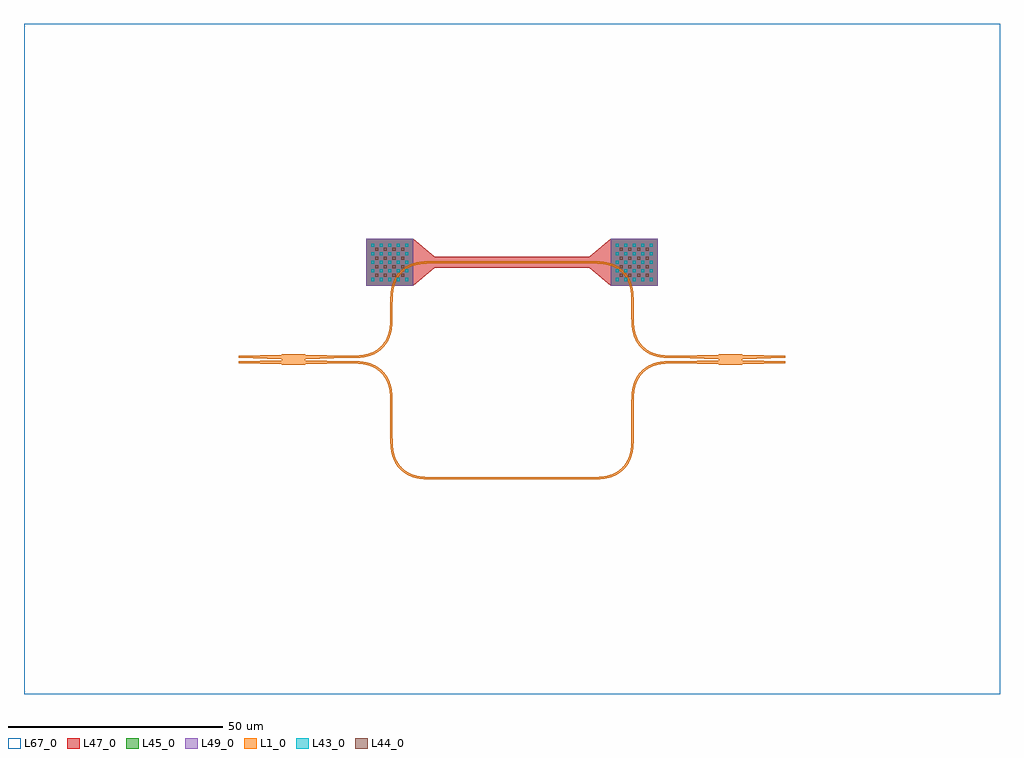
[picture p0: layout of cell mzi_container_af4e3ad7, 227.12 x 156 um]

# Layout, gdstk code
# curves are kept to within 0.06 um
from math import pi, radians
import gdstk
lib = gdstk.Library(unit=1e-6, precision=1e-09)
def R(c, l, rs):  # rectangles x0, y0, x1, y1
    for r in rs: c.add(gdstk.rectangle(r[:2], r[2:], *l))
def P(c, l, *ps):  # polygons
    for p in ps: c.add(gdstk.Polygon(p, *l))
L1_0 = (1, 0)
L43_0 = (43, 0)
L44_0 = (44, 0)
L45_0 = (45, 0)
L47_0 = (47, 0)
L49_0 = (49, 0)
L67_0 = (67, 0)

mmi2x2 = lib.new_cell('mmi2x2')
R(mmi2x2, L1_0, [(0,-1.25,5.5,1.25)])
P(mmi2x2, L1_0, [(-10,-0.375),(0,-0.125),(0,-1.125),(-10,-0.875)],
  [(-10,0.875),(0,1.125),(0,0.125),(-10,0.375)],
  [(15.5,0.375),(5.5,0.125),(5.5,1.125),(15.5,0.875)],
  [(15.5,-0.875),(5.5,-1.125),(5.5,-0.125),(15.5,-0.375)])

bend_euler = lib.new_cell('bend_euler')
P(bend_euler, L1_0, [(0,-0.25),(2.794,-0.158),(4.746,0.203),(5.688,0.543),(6.455,0.934),(7.284,1.499),(7.928,2.072),(8.501,2.716),(9.066,3.545),(9.457,4.312),(9.797,5.254),(10.158,7.206),(10.25,10),(9.75,10),(9.631,6.984),(9.451,5.916),(9.194,5.011),(8.566,3.683),(7.574,2.426),(6.317,1.434),(4.989,0.806),(4.084,0.549),(3.016,0.369),(0,0.25)])

straight_length7p0 = lib.new_cell('straight_length7p0')
R(straight_length7p0, L1_0, [(0,-0.25,7,0.25)])

straight_length0p1 = lib.new_cell('straight_length0p1')
R(straight_length0p1, L1_0, [(0,-0.25,0.1,0.25)])

straight_length2p0 = lib.new_cell('straight_length2p0')
R(straight_length2p0, L1_0, [(0,-0.25,2,0.25)])

straight_add_pinsfalse_l = lib.new_cell('straight_add_pinsFalse_length0p1')
R(straight_add_pinsfalse_l, L1_0, [(0,-0.25,0.1,0.25)])

straight_6e0386c1 = lib.new_cell('straight_6e0386c1')
R(straight_6e0386c1, L1_0, [(0,-0.25,17.95,0.25)])
R(straight_6e0386c1, L47_0, [(0,-1.25,17.95,1.25)])

component_sequence_8c6f5 = lib.new_cell('component_sequence_8c6f5426')
component_sequence_8c6f5.add(gdstk.Reference(straight_add_pinsfalse_l, (0,0)))
component_sequence_8c6f5.add(gdstk.Reference(straight_6e0386c1, (0.1,0)))
component_sequence_8c6f5.add(gdstk.Reference(straight_6e0386c1, (18.05,0)))
component_sequence_8c6f5.add(gdstk.Reference(straight_add_pinsfalse_l, (36,0)))

compass_d8224c77 = lib.new_cell('compass_d8224c77')
R(compass_d8224c77, L47_0, [(-5.5,-5.5,5.5,5.5)])

compass_layerm2_size11p0 = lib.new_cell('compass_layerM2_size11p0__11p0')
R(compass_layerm2_size11p0, L45_0, [(-5.5,-5.5,5.5,5.5)])

compass_layermtop_size11 = lib.new_cell('compass_layerMTOP_size11p0__11p0')
R(compass_layermtop_size11, L49_0, [(-5.5,-5.5,5.5,5.5)])

via_enclosure2_layervia1 = lib.new_cell('via_enclosure2_layerVIA1')
R(via_enclosure2_layervia1, L44_0, [(-0.35,-0.35,0.35,0.35)])

via_layervia2 = lib.new_cell('via_layerVIA2')
R(via_layervia2, L43_0, [(-0.35,-0.35,0.35,0.35)])

via_stack_7bdb8e37 = lib.new_cell('via_stack_7bdb8e37')
via_stack_7bdb8e37.add(gdstk.Reference(compass_d8224c77, (0,0)))
via_stack_7bdb8e37.add(gdstk.Reference(compass_layerm2_size11p0, (0,0)))
via_stack_7bdb8e37.add(gdstk.Reference(compass_layermtop_size11, (0,0)))
r = gdstk.Reference(via_enclosure2_layervia1, (-3,-3)); r.repetition = gdstk.Repetition(4, 4, v1=(2,0), v2=(0,2)); via_stack_7bdb8e37.add(r)
r = gdstk.Reference(via_layervia2, (-4,-4)); r.repetition = gdstk.Repetition(5, 5, v1=(2,0), v2=(0,2)); via_stack_7bdb8e37.add(r)

taper_23f5216f = lib.new_cell('taper_23f5216f')
P(taper_23f5216f, L47_0, [(0,5.5),(5,1.25),(5,-1.25),(0,-5.5)])

straight_heater_metal_un = lib.new_cell('straight_heater_metal_undercut_7c702180')
straight_heater_metal_un.add(gdstk.Reference(component_sequence_8c6f5, (0,0)))
straight_heater_metal_un.add(gdstk.Reference(via_stack_7bdb8e37, (-10.4,0)))
straight_heater_metal_un.add(gdstk.Reference(via_stack_7bdb8e37, (46.5,0)))
straight_heater_metal_un.add(gdstk.Reference(taper_23f5216f, (-4.9,0)))
straight_heater_metal_un.add(gdstk.Reference(taper_23f5216f, (41,0), rotation=pi))

bend_euler_40ab4dd3 = lib.new_cell('bend_euler_40ab4dd3')
P(bend_euler_40ab4dd3, L1_0, [(0,-0.25),(2.794,-0.158),(4.746,0.203),(5.688,0.543),(6.455,0.934),(7.284,1.499),(7.928,2.072),(8.501,2.716),(9.066,3.545),(9.457,4.312),(9.797,5.254),(10.158,7.206),(10.25,10),(9.75,10),(9.631,6.984),(9.451,5.916),(9.194,5.011),(8.566,3.683),(7.574,2.426),(6.317,1.434),(4.989,0.806),(4.084,0.549),(3.016,0.369),(0,0.25)])

straight_e8b67d3c = lib.new_cell('straight_e8b67d3c')
R(straight_e8b67d3c, L1_0, [(0,-0.25,0.01,0.25)])

straight_299cef3a = lib.new_cell('straight_299cef3a')
R(straight_299cef3a, L1_0, [(0,-0.25,2,0.25)])

straight_840df451 = lib.new_cell('straight_840df451')
R(straight_840df451, L1_0, [(0,-0.25,36.01,0.25)])

straight_533918dc = lib.new_cell('straight_533918dc')
R(straight_533918dc, L1_0, [(0,-0.25,7,0.25)])

mzi_2e88f57c = lib.new_cell('mzi_2e88f57c')
mzi_2e88f57c.add(gdstk.Reference(mmi2x2, (0,0)))
mzi_2e88f57c.add(gdstk.Reference(mmi2x2, (107.12,0), rotation=pi, x_reflection=True))
mzi_2e88f57c.add(gdstk.Reference(bend_euler, (15.5,-0.625), x_reflection=True))
mzi_2e88f57c.add(gdstk.Reference(straight_length7p0, (25.5,-10.625), rotation=3*pi/2))
mzi_2e88f57c.add(gdstk.Reference(bend_euler, (25.5,-17.625), rotation=3*pi/2))
mzi_2e88f57c.add(gdstk.Reference(straight_length0p1, (35.5,-27.625)))
mzi_2e88f57c.add(gdstk.Reference(bend_euler, (15.5,0.625)))
mzi_2e88f57c.add(gdstk.Reference(straight_length2p0, (25.5,10.625), rotation=pi/2))
mzi_2e88f57c.add(gdstk.Reference(bend_euler, (35.5,22.625), rotation=pi))
mzi_2e88f57c.add(gdstk.Reference(straight_heater_metal_un, (35.5,22.625)))
mzi_2e88f57c.add(gdstk.Reference(bend_euler_40ab4dd3, (71.61,22.625), x_reflection=True))
mzi_2e88f57c.add(gdstk.Reference(bend_euler_40ab4dd3, (81.61,10.625), rotation=3*pi/2))
mzi_2e88f57c.add(gdstk.Reference(straight_e8b67d3c, (71.6,22.625)))
mzi_2e88f57c.add(gdstk.Reference(straight_299cef3a, (81.61,12.625), rotation=3*pi/2))
mzi_2e88f57c.add(gdstk.Reference(straight_e8b67d3c, (91.61,0.625)))
mzi_2e88f57c.add(gdstk.Reference(bend_euler_40ab4dd3, (71.61,-27.625)))
mzi_2e88f57c.add(gdstk.Reference(bend_euler_40ab4dd3, (81.61,-10.625), rotation=pi/2, x_reflection=True))
mzi_2e88f57c.add(gdstk.Reference(straight_840df451, (35.6,-27.625)))
mzi_2e88f57c.add(gdstk.Reference(straight_533918dc, (81.61,-17.625), rotation=pi/2))
mzi_2e88f57c.add(gdstk.Reference(straight_e8b67d3c, (91.61,-0.625)))

mzi_container_af4e3ad7 = lib.new_cell('mzi_container_af4e3ad7')
R(mzi_container_af4e3ad7, L67_0, [(-60,-77.875,167.12,78.125)])
mzi_container_af4e3ad7.add(gdstk.Reference(mzi_2e88f57c, (0,0)))

lib.write_gds('mzi_container_af4e3ad7.gds')
